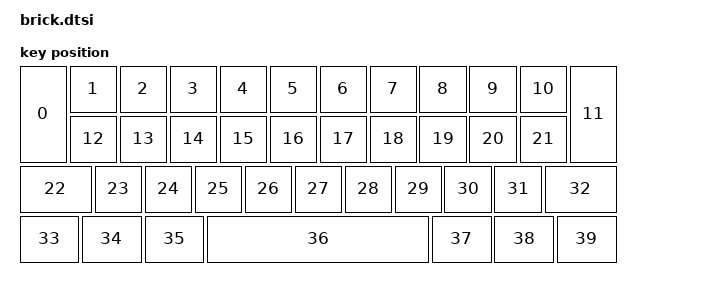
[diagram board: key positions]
#include <physical_layouts.dtsi>

/ {
    brick_layout: brick_layout {
        compatible = "zmk,physical-layout";
        display-name = "Default";

keys  //                     w   h    x    y     rot    rx    ry
            = <&key_physical_attrs 100 200    0    0       0     0     0>
            , <&key_physical_attrs 100 100  100    0       0     0     0>
            , <&key_physical_attrs 100 100  200    0       0     0     0>
            , <&key_physical_attrs 100 100  300    0       0     0     0>
            , <&key_physical_attrs 100 100  400    0       0     0     0>
            , <&key_physical_attrs 100 100  500    0       0     0     0>
            , <&key_physical_attrs 100 100  600    0       0     0     0>
            , <&key_physical_attrs 100 100  700    0       0     0     0>
            , <&key_physical_attrs 100 100  800    0       0     0     0>
            , <&key_physical_attrs 100 100  900    0       0     0     0>
            , <&key_physical_attrs 100 100 1000    0       0     0     0>
            , <&key_physical_attrs 100 200 1100    0       0     0     0>
            , <&key_physical_attrs 100 100  100  100       0     0     0>
            , <&key_physical_attrs 100 100  200  100       0     0     0>
            , <&key_physical_attrs 100 100  300  100       0     0     0>
            , <&key_physical_attrs 100 100  400  100       0     0     0>
            , <&key_physical_attrs 100 100  500  100       0     0     0>
            , <&key_physical_attrs 100 100  600  100       0     0     0>
            , <&key_physical_attrs 100 100  700  100       0     0     0>
            , <&key_physical_attrs 100 100  800  100       0     0     0>
            , <&key_physical_attrs 100 100  900  100       0     0     0>
            , <&key_physical_attrs 100 100 1000  100       0     0     0>
            , <&key_physical_attrs 150 100    0  200       0     0     0>
            , <&key_physical_attrs 100 100  150  200       0     0     0>
            , <&key_physical_attrs 100 100  250  200       0     0     0>
            , <&key_physical_attrs 100 100  350  200       0     0     0>
            , <&key_physical_attrs 100 100  450  200       0     0     0>
            , <&key_physical_attrs 100 100  550  200       0     0     0>
            , <&key_physical_attrs 100 100  650  200       0     0     0>
            , <&key_physical_attrs 100 100  750  200       0     0     0>
            , <&key_physical_attrs 100 100  850  200       0     0     0>
            , <&key_physical_attrs 100 100  950  200       0     0     0>
            , <&key_physical_attrs 150 100 1050  200       0     0     0>
            , <&key_physical_attrs 125 100    0  300       0     0     0>
            , <&key_physical_attrs 125 100  125  300       0     0     0>
            , <&key_physical_attrs 125 100  250  300       0     0     0>
            , <&key_physical_attrs 450 100  375  300       0     0     0>
            , <&key_physical_attrs 125 100  825  300       0     0     0>
            , <&key_physical_attrs 125 100  950  300       0     0     0>
            , <&key_physical_attrs 125 100 1075  300       0     0     0>
            ;
    };
};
